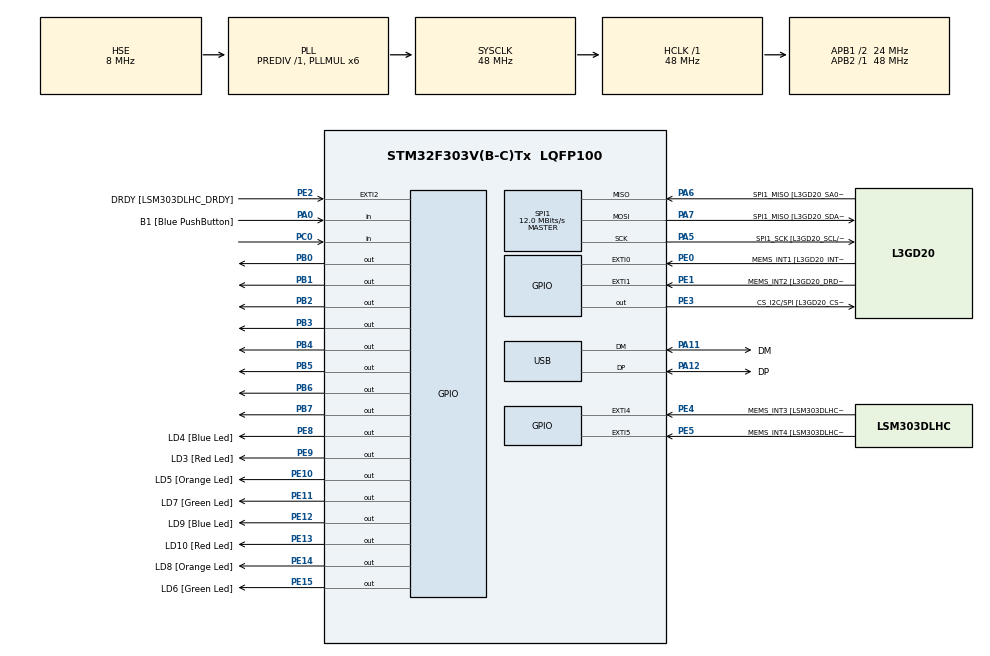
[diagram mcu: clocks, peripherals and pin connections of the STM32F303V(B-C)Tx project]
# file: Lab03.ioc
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Mcu.Family=STM32F3
Mcu.Name=STM32F303V(B-C)Tx
Mcu.Package=LQFP100
NVIC.PriorityGroup=NVIC_PRIORITYGROUP_0
PA0.GPIO_Label=B1 [Blue PushButton]
PA0.Signal=GPIO_Input
PA11.GPIO_Label=DM
PA11.Mode=Device
PA11.Signal=USB_DM
PA12.GPIO_Label=DP
PA12.Mode=Device
PA12.Signal=USB_DP
PA13.GPIO_Label=SWDIO
PA13.Mode=Serial_Wire
PA13.Signal=SYS_JTMS-SWDIO
PA14.GPIO_Label=SWCLK
PA14.Mode=Serial_Wire
PA14.Signal=SYS_JTCK-SWCLK
PA5.GPIO_Label=SPI1_SCK [L3GD20_SCL/SPC]
PA5.Mode=Full_Duplex_Master
PA5.Signal=SPI1_SCK
PA6.GPIO_Label=SPI1_MISO [L3GD20_SA0/SDO]
PA6.Mode=Full_Duplex_Master
PA6.Signal=SPI1_MISO
PA7.GPIO_Label=SPI1_MISO [L3GD20_SDA/SDI/SDO]
PA7.Mode=Full_Duplex_Master
PA7.Signal=SPI1_MOSI
PB0.Signal=GPIO_Output
PB1.Signal=GPIO_Output
PB2.Signal=GPIO_Output
PB3.Signal=GPIO_Output
PB4.Signal=GPIO_Output
PB5.Signal=GPIO_Output
PB6.Signal=GPIO_Output
PB7.Signal=GPIO_Output
PC0.Signal=GPIO_Input
PC14-OSC32_IN.GPIO_Label=OSC32_IN
PC14-OSC32_IN.Signal=RCC_OSC32_IN
PC15-OSC32_OUT.GPIO_Label=OSC32_OUT
PC15-OSC32_OUT.Signal=RCC_OSC32_OUT
PE0.GPIO_Label=MEMS_INT1 [L3GD20_INT1]
PE0.GPIO_ModeDefaultEXTI=GPIO_MODE_EVT_RISING
PE0.Signal=GPXTI0
PE1.GPIO_Label=MEMS_INT2 [L3GD20_DRDY/INT2]
PE1.GPIO_ModeDefaultEXTI=GPIO_MODE_EVT_RISING
PE1.Signal=GPXTI1
PE10.GPIO_Label=LD5 [Orange Led]
PE10.Signal=GPIO_Output
PE11.GPIO_Label=LD7 [Green Led]
PE11.Signal=GPIO_Output
PE12.GPIO_Label=LD9 [Blue Led]
PE12.Signal=GPIO_Output
PE13.GPIO_Label=LD10 [Red Led]
PE13.Signal=GPIO_Output
PE14.GPIO_Label=LD8 [Orange Led]
PE14.Signal=GPIO_Output
PE15.GPIO_Label=LD6 [Green Led]
PE15.Signal=GPIO_Output
PE2.GPIO_Label=DRDY [LSM303DLHC_DRDY]
PE2.GPIO_ModeDefaultEXTI=GPIO_MODE_EVT_RISING
PE2.Signal=GPXTI2
PE3.GPIO_Label=CS_I2C/SPI [L3GD20_CS_I2C/SPI]
PE3.Signal=GPIO_Output
PE4.GPIO_Label=MEMS_INT3 [LSM303DLHC_INT1]
PE4.GPIO_ModeDefaultEXTI=GPIO_MODE_EVT_RISING
PE4.Signal=GPXTI4
PE5.GPIO_Label=MEMS_INT4 [LSM303DLHC_INT2]
PE5.GPIO_ModeDefaultEXTI=GPIO_MODE_EVT_RISING
PE5.Signal=GPXTI5
PE8.GPIO_Label=LD4 [Blue Led]
PE8.Signal=GPIO_Output
PE9.GPIO_Label=LD3 [Red Led]
PE9.Signal=GPIO_Output
PF0-OSC_IN.GPIO_Label=OSC_IN
PF0-OSC_IN.Mode=HSE-External-Clock-Source
PF0-OSC_IN.Signal=RCC_OSC_IN
PF1-OSC_OUT.GPIO_Label=OSC_OUT
PF1-OSC_OUT.Signal=RCC_OSC_OUT
ProjectManager.HeapSize=0x200
ProjectManager.StackSize=0x400
ProjectManager.TargetToolchain=CMake
RCC.AHBFreq_Value=48000000
RCC.APB1CLKDivider=RCC_HCLK_DIV2
RCC.APB1Freq_Value=24000000
RCC.APB1TimFreq_Value=48000000
RCC.APB2Freq_Value=48000000
RCC.APB2TimFreq_Value=48000000
RCC.CortexFreq_Value=48000000
RCC.HCLKFreq_Value=48000000
RCC.HSE_VALUE=8000000
RCC.HSI_VALUE=8000000
RCC.LSE_VALUE=32768
RCC.PLLMUL=RCC_PLL_MUL6
RCC.SYSCLKFreq_VALUE=48000000
RCC.SYSCLKSourceVirtual=RCC_SYSCLKSOURCE_PLLCLK
RCC.USBFreq_Value=48000000
SPI1.BaudRatePrescaler=SPI_BAUDRATEPRESCALER_4
SPI1.BaudRatePrescaler-Full_Duplex_Master=SPI_BAUDRATEPRESCALER_2
SPI1.CalculateBaudRate=12.0 MBits/s
SPI1.CalculateBaudRate-Full_Duplex_Master=24.0 MBits/s
SPI1.Direction=SPI_DIRECTION_2LINES
SPI1.Mode=SPI_MODE_MASTER
SPI1.Mode-Full_Duplex_Master=SPI_MODE_MASTER
SPI1.VirtualType=VM_MASTER
board=STM32F3DISCOVERY

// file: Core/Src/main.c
/* USER CODE BEGIN Header */
/**
  ******************************************************************************
  * @file           : main.c
  * @brief          : Main program body
  ******************************************************************************
  * @attention
  *
  * Copyright (c) 2026 STMicroelectronics.
  * All rights reserved.
  *
  * This software is licensed under terms that can be found in the LICENSE file
  * in the root directory of this software component.
  * If no LICENSE file comes with this software, it is provided AS-IS.
  *
  ******************************************************************************
  */
/* USER CODE END Header */
#include "main.h"
#include <stdlib.h>

SPI_HandleTypeDef hspi1;

PCD_HandleTypeDef hpcd_USB_FS;

/* USER CODE BEGIN PV */
const uint16_t SEVEN_SEGMENT[7] =
{
    GPIO_PIN_0, // a
    GPIO_PIN_1, // b
    GPIO_PIN_2, // c
    GPIO_PIN_3, // d
    GPIO_PIN_4, // e
    GPIO_PIN_5, // f
    GPIO_PIN_6  // g
};

    #define SEGMENT_PORT GPIOB

    const uint8_t hex_NUM[16] =
    {
    0x40, // 0
    0x79, // 1
    0x24, // 2
    0x30, // 3
    0x19, // 4
    0x12, // 5
    0x02, // 6
    0x78, // 7
    0x00, // 8
    0x10, // 9
    0x08, // A
    0x03, // b
    0x46, // C
    0x21, // d
    0x06, // E
    0x0E  // F
    };

/* USER CODE END PV */

void SystemClock_Config(void);
static void MX_GPIO_Init(void);
static void MX_SPI1_Init(void);
static void MX_USB_PCD_Init(void);

/* USER CODE BEGIN 0 */

//display function
  void display_number(uint8_t num)
  {
    if (num > 15)
    {
      return;
    }

    uint8_t pattern = hex_NUM[num];
    GPIO_PinState state;
    for (int i = 0; i < 7; i++)
    {
      if (pattern & (1 << i))
      {
        state = GPIO_PIN_SET;
      }
      else
      {
        state = GPIO_PIN_RESET;
      }
      HAL_GPIO_WritePin(SEGMENT_PORT, SEVEN_SEGMENT[i], state);
    }
  }

  // student ID (TASK 2)
  // int id[5]= {1,0,3,6,4};
  // const uint8_t total_digits = 5;
  // uint8_t current_index = 0;

  //TASK 3
  //int counter = 0;

  //TASK 4

/* USER CODE END 0 */

int main(void)
{

  /* MCU Configuration--------------------------------------------------------*/

  /* Reset of all peripherals, Initializes the Flash interface and the Systick. */
  HAL_Init();

  /* Configure the system clock */
  SystemClock_Config();

  /* Initialize all configured peripherals */
  MX_GPIO_Init();
  MX_SPI1_Init();
  MX_USB_PCD_Init();
  /* USER CODE BEGIN 2 */

  srand(HAL_GetTick());
  display_number(1);

  /* USER CODE END 2 */

  /* Infinite loop */
  while (1)
  {

    /* USER CODE BEGIN 3 */

    //Task 01
    // for (int i = 0; i < 16; i++)
    // {
    //   display_number(i);
    //   HAL_Delay(2000);
    // }

    //Task 02
    // display_number(id[current_index]);
    // if (HAL_GPIO_ReadPin(GPIOA, GPIO_PIN_0) == GPIO_PIN_SET)
    // {
    //     HAL_Delay(50);

    //     if (HAL_GPIO_ReadPin(GPIOA, GPIO_PIN_0) == GPIO_PIN_SET)
    //     {
    //         current_index++;
    //         if (current_index >= total_digits)
    //         {
    //             current_index = 0;
    //         }
    //         display_number(id[current_index]);

    //         while (HAL_GPIO_ReadPin(GPIOA, GPIO_PIN_0) == GPIO_PIN_SET)
    //         {
    //             HAL_Delay(10);
    //         }
    //     }
    // }

    //TASK 03
    // display_number(counter);
    // if (HAL_GPIO_ReadPin(GPIOA, GPIO_PIN_0) == GPIO_PIN_SET)
    // {
    //     HAL_Delay(50);

    //     if (HAL_GPIO_ReadPin(GPIOA, GPIO_PIN_0) == GPIO_PIN_SET)
    //     {
    //         counter++;
    //         if (counter > 15)
    //         {
    //             counter = 0;
    //         }
    //         display_number(counter);
    //         while (HAL_GPIO_ReadPin(GPIOA, GPIO_PIN_0) == GPIO_PIN_SET)
    //         {
    //             HAL_Delay(10);
    //         }
    //     }
    // }

    // if (HAL_GPIO_ReadPin(GPIOC, GPIO_PIN_0) == GPIO_PIN_SET)
    // {
    //     HAL_Delay(50);
    //     if (HAL_GPIO_ReadPin(GPIOC, GPIO_PIN_0) == GPIO_PIN_SET)
    //     {
    //         counter--;
    //         if (counter < 0)
    //         {
    //             counter = 15;
    //         }
    //         display_number(counter);
    //         while (HAL_GPIO_ReadPin(GPIOC, GPIO_PIN_0) == GPIO_PIN_SET)
    //         {
    //             HAL_Delay(10);
    //         }
    //     }
    // }

    //TASK 04

    if (HAL_GPIO_ReadPin(GPIOA, GPIO_PIN_0) == GPIO_PIN_SET)
    {
        HAL_Delay(25);

        if (HAL_GPIO_ReadPin(GPIOA, GPIO_PIN_0) == GPIO_PIN_SET)
        {
            srand(HAL_GetTick());
            uint8_t random_digit = (rand() % 6) + 1;
            display_number(random_digit);
            while (HAL_GPIO_ReadPin(GPIOA, GPIO_PIN_0) == GPIO_PIN_SET)
            {
                HAL_Delay(15);
            }
        }
    }

  }
  /* USER CODE END 3 */
}

void SystemClock_Config(void)
{
  RCC_OscInitTypeDef RCC_OscInitStruct = {0};
  RCC_ClkInitTypeDef RCC_ClkInitStruct = {0};
  RCC_PeriphCLKInitTypeDef PeriphClkInit = {0};

  /** Initializes the RCC Oscillators according to the specified parameters
  * in the RCC_OscInitTypeDef structure.
  */
  RCC_OscInitStruct.OscillatorType = RCC_OSCILLATORTYPE_HSE;
  RCC_OscInitStruct.HSEState = RCC_HSE_BYPASS;
  RCC_OscInitStruct.HSEPredivValue = RCC_HSE_PREDIV_DIV1;
  RCC_OscInitStruct.HSIState = RCC_HSI_ON;
  RCC_OscInitStruct.PLL.PLLState = RCC_PLL_ON;
  RCC_OscInitStruct.PLL.PLLSource = RCC_PLLSOURCE_HSE;
  RCC_OscInitStruct.PLL.PLLMUL = RCC_PLL_MUL6;
  if (HAL_RCC_OscConfig(&RCC_OscInitStruct) != HAL_OK)
  {
    Error_Handler();
  }

  /** Initializes the CPU, AHB and APB buses clocks
  */
  RCC_ClkInitStruct.ClockType = RCC_CLOCKTYPE_HCLK|RCC_CLOCKTYPE_SYSCLK
                              |RCC_CLOCKTYPE_PCLK1|RCC_CLOCKTYPE_PCLK2;
  RCC_ClkInitStruct.SYSCLKSource = RCC_SYSCLKSOURCE_PLLCLK;
  RCC_ClkInitStruct.AHBCLKDivider = RCC_SYSCLK_DIV1;
  RCC_ClkInitStruct.APB1CLKDivider = RCC_HCLK_DIV2;
  RCC_ClkInitStruct.APB2CLKDivider = RCC_HCLK_DIV1;

  if (HAL_RCC_ClockConfig(&RCC_ClkInitStruct, FLASH_LATENCY_1) != HAL_OK)
  {
    Error_Handler();
  }
  PeriphClkInit.PeriphClockSelection = RCC_PERIPHCLK_USB;
  PeriphClkInit.USBClockSelection = RCC_USBCLKSOURCE_PLL;
  if (HAL_RCCEx_PeriphCLKConfig(&PeriphClkInit) != HAL_OK)
  {
    Error_Handler();
  }
}

static void MX_SPI1_Init(void)
{

  /* SPI1 parameter configuration*/
  hspi1.Instance = SPI1;
  hspi1.Init.Mode = SPI_MODE_MASTER;
  hspi1.Init.Direction = SPI_DIRECTION_2LINES;
  hspi1.Init.DataSize = SPI_DATASIZE_4BIT;
  hspi1.Init.CLKPolarity = SPI_POLARITY_LOW;
  hspi1.Init.CLKPhase = SPI_PHASE_1EDGE;
  hspi1.Init.NSS = SPI_NSS_SOFT;
  hspi1.Init.BaudRatePrescaler = SPI_BAUDRATEPRESCALER_4;
  hspi1.Init.FirstBit = SPI_FIRSTBIT_MSB;
  hspi1.Init.TIMode = SPI_TIMODE_DISABLE;
  hspi1.Init.CRCCalculation = SPI_CRCCALCULATION_DISABLE;
  hspi1.Init.CRCPolynomial = 7;
  hspi1.Init.CRCLength = SPI_CRC_LENGTH_DATASIZE;
  hspi1.Init.NSSPMode = SPI_NSS_PULSE_ENABLE;
  if (HAL_SPI_Init(&hspi1) != HAL_OK)
  {
    Error_Handler();
  }

}

static void MX_USB_PCD_Init(void)
{

  hpcd_USB_FS.Instance = USB;
  hpcd_USB_FS.Init.dev_endpoints = 8;
  hpcd_USB_FS.Init.speed = PCD_SPEED_FULL;
  hpcd_USB_FS.Init.phy_itface = PCD_PHY_EMBEDDED;
  hpcd_USB_FS.Init.low_power_enable = DISABLE;
  hpcd_USB_FS.Init.battery_charging_enable = DISABLE;
  if (HAL_PCD_Init(&hpcd_USB_FS) != HAL_OK)
  {
    Error_Handler();
  }

}

static void MX_GPIO_Init(void)
{
  GPIO_InitTypeDef GPIO_InitStruct = {0};

  /* GPIO Ports Clock Enable */
  __HAL_RCC_GPIOE_CLK_ENABLE();
  __HAL_RCC_GPIOC_CLK_ENABLE();
  __HAL_RCC_GPIOF_CLK_ENABLE();
  __HAL_RCC_GPIOA_CLK_ENABLE();
  __HAL_RCC_GPIOB_CLK_ENABLE();

  /*Configure GPIO pin Output Level */
  HAL_GPIO_WritePin(GPIOE, CS_I2C_SPI_Pin|LD4_Pin|LD3_Pin|LD5_Pin
                          |LD7_Pin|LD9_Pin|LD10_Pin|LD8_Pin
                          |LD6_Pin, GPIO_PIN_RESET);

  /*Configure GPIO pin Output Level */
  HAL_GPIO_WritePin(GPIOB, GPIO_PIN_0|GPIO_PIN_1|GPIO_PIN_2|GPIO_PIN_3
                          |GPIO_PIN_4|GPIO_PIN_5|GPIO_PIN_6|GPIO_PIN_7, GPIO_PIN_RESET);

  /*Configure GPIO pins : DRDY_Pin MEMS_INT3_Pin MEMS_INT4_Pin MEMS_INT1_Pin
                           MEMS_INT2_Pin */
  GPIO_InitStruct.Pin = DRDY_Pin|MEMS_INT3_Pin|MEMS_INT4_Pin|MEMS_INT1_Pin
                          |MEMS_INT2_Pin;
  GPIO_InitStruct.Mode = GPIO_MODE_EVT_RISING;
  GPIO_InitStruct.Pull = GPIO_NOPULL;
  HAL_GPIO_Init(GPIOE, &GPIO_InitStruct);

  /*Configure GPIO pins : CS_I2C_SPI_Pin LD4_Pin LD3_Pin LD5_Pin
                           LD7_Pin LD9_Pin LD10_Pin LD8_Pin
                           LD6_Pin */
  GPIO_InitStruct.Pin = CS_I2C_SPI_Pin|LD4_Pin|LD3_Pin|LD5_Pin
                          |LD7_Pin|LD9_Pin|LD10_Pin|LD8_Pin
                          |LD6_Pin;
  GPIO_InitStruct.Mode = GPIO_MODE_OUTPUT_PP;
  GPIO_InitStruct.Pull = GPIO_NOPULL;
  GPIO_InitStruct.Speed = GPIO_SPEED_FREQ_LOW;
  HAL_GPIO_Init(GPIOE, &GPIO_InitStruct);

  /*Configure GPIO pin : PC0 */
  GPIO_InitStruct.Pin = GPIO_PIN_0;
  GPIO_InitStruct.Mode = GPIO_MODE_INPUT;
  GPIO_InitStruct.Pull = GPIO_NOPULL;
  HAL_GPIO_Init(GPIOC, &GPIO_InitStruct);

  /*Configure GPIO pin : B1_Pin */
  GPIO_InitStruct.Pin = B1_Pin;
  GPIO_InitStruct.Mode = GPIO_MODE_INPUT;
  GPIO_InitStruct.Pull = GPIO_NOPULL;
  HAL_GPIO_Init(B1_GPIO_Port, &GPIO_InitStruct);

  /*Configure GPIO pins : PB0 PB1 PB2 PB3
                           PB4 PB5 PB6 PB7 */
  GPIO_InitStruct.Pin = GPIO_PIN_0|GPIO_PIN_1|GPIO_PIN_2|GPIO_PIN_3
                          |GPIO_PIN_4|GPIO_PIN_5|GPIO_PIN_6|GPIO_PIN_7;
  GPIO_InitStruct.Mode = GPIO_MODE_OUTPUT_PP;
  GPIO_InitStruct.Pull = GPIO_NOPULL;
  GPIO_InitStruct.Speed = GPIO_SPEED_FREQ_LOW;
  HAL_GPIO_Init(GPIOB, &GPIO_InitStruct);

}

void Error_Handler(void)
{
  __disable_irq();
  while (1)
  {
  }
}
